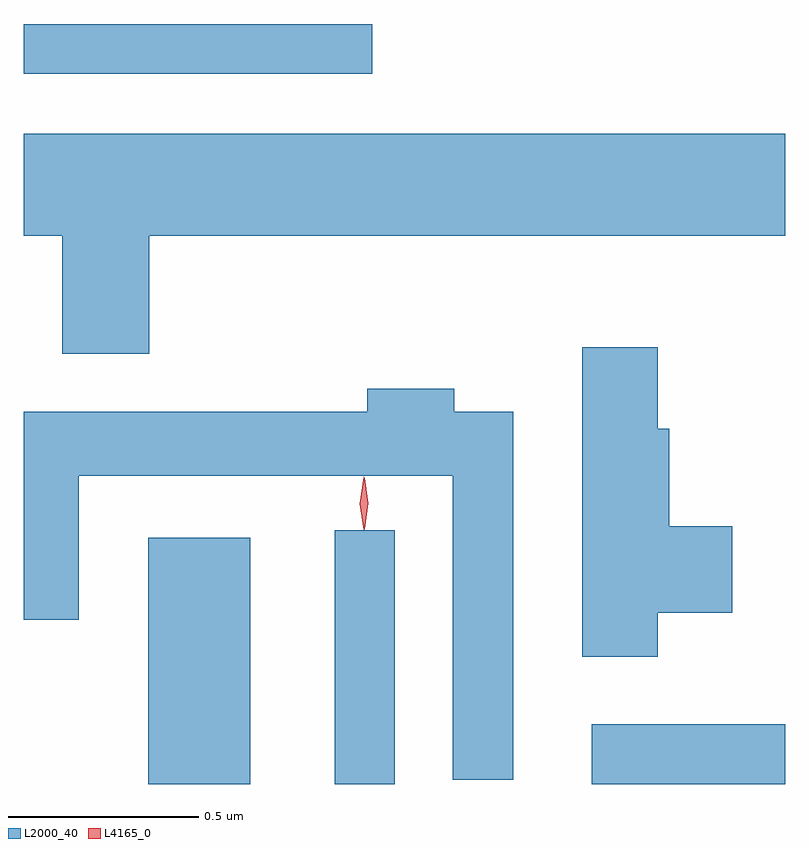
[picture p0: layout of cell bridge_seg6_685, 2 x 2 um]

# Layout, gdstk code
import gdstk
lib = gdstk.Library(unit=1e-6, precision=1e-09)
def R(c, l, rs):  # rectangles x0, y0, x1, y1
    for r in rs: c.add(gdstk.rectangle(r[:2], r[2:], *l))
def P(c, l, *ps):  # polygons
    for p in ps: c.add(gdstk.Polygon(p, *l))
L2000_40 = (2000, 40)
L4165_0 = (4165, 0)

bridge_seg6_685 = lib.new_cell('bridge_seg6_685')
R(bridge_seg6_685, L2000_40, [(396.936,1666.257,397.204,1666.904), (397.426,1666.257,397.584,1666.923), (398.101,1666.257,398.609,1666.414), (396.609,1668.121,397.524,1668.252)])
P(bridge_seg6_685, L2000_40, [(396.609,1667.696),(396.711,1667.696),(396.711,1667.386),(396.939,1667.386),(396.939,1667.696),(398.609,1667.696),(398.609,1667.964),(396.609,1667.964)],
  [(398.274,1666.706),(398.469,1666.706),(398.469,1666.934),(398.304,1666.934),(398.304,1667.189),(398.274,1667.189),(398.274,1667.404),(398.076,1667.404),(398.076,1666.591),(398.274,1666.591)],
  [(397.894,1667.234),(397.739,1667.234),(397.739,1667.294),(397.511,1667.294),(397.511,1667.234),(396.609,1667.234),(396.609,1666.688),(396.754,1666.688),(396.754,1667.066),(397.736,1667.066),(397.736,1666.268),(397.894,1666.268)])
P(bridge_seg6_685, L4165_0, [(397.502,1666.924),(397.502,1666.924),(397.492,1666.993),(397.502,1667.062),(397.502,1667.063),(397.503,1667.062),(397.512,1666.993),(397.503,1666.924)],
  [(397.504,1666.927),(397.504,1666.927),(397.494,1666.994),(397.504,1667.06),(397.504,1667.06),(397.505,1667.06),(397.514,1666.994),(397.505,1666.927)])

lib.write_gds('bridge_seg6_685.gds')
